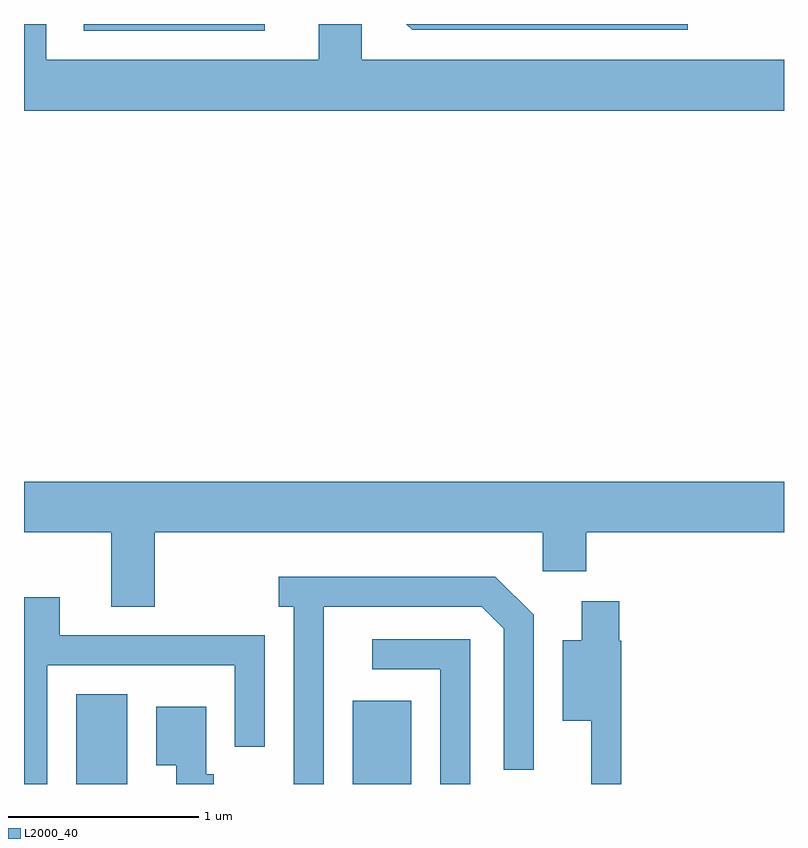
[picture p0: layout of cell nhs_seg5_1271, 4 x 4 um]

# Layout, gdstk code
import gdstk
lib = gdstk.Library(unit=1e-6, precision=1e-09)
def R(c, l, rs):  # rectangles x0, y0, x1, y1
    for r in rs: c.add(gdstk.rectangle(r[:2], r[2:], *l))
def P(c, l, *ps):  # polygons
    for p in ps: c.add(gdstk.Polygon(p, *l))
L2000_40 = (2000, 40)

nhs_seg5_1271 = lib.new_cell('nhs_seg5_1271')
R(nhs_seg5_1271, L2000_40, [(221.886,1522.072,222.154,1522.544), (223.341,1522.072,223.649,1522.509), (221.926,1526.036,222.879,1526.072)])
P(nhs_seg5_1271, L2000_40, [(225.611,1525.884),(223.389,1525.884),(223.389,1526.072),(223.161,1526.072),(223.161,1525.884),(221.729,1525.884),(221.729,1526.072),(221.611,1526.072),(221.611,1525.616),(225.611,1525.616)],
  [(225.104,1526.072),(223.623,1526.072),(223.654,1526.041),(225.104,1526.041)],
  [(222.299,1523.396),(224.341,1523.396),(224.341,1523.191),(224.569,1523.191),(224.569,1523.396),(225.611,1523.396),(225.611,1523.664),(221.611,1523.664),(221.611,1523.396),(222.071,1523.396),(222.071,1523.006),(222.299,1523.006)],
  [(223.189,1523.006),(224.019,1523.006),(224.136,1522.889),(224.136,1522.148),(224.294,1522.148),(224.294,1522.962),(224.092,1523.164),(222.953,1523.164),(222.953,1523.006),(223.031,1523.006),(223.031,1522.072),(223.189,1522.072)],
  [(221.734,1522.696),(222.721,1522.696),(222.721,1522.268),(222.879,1522.268),(222.879,1522.854),(221.799,1522.854),(221.799,1523.054),(221.611,1523.054),(221.611,1522.072),(221.734,1522.072)],
  [(224.754,1522.825),(224.744,1522.825),(224.744,1523.034),(224.546,1523.034),(224.546,1522.829),(224.446,1522.829),(224.446,1522.406),(224.596,1522.406),(224.596,1522.072),(224.754,1522.072)],
  [(223.959,1522.834),(223.443,1522.834),(223.443,1522.676),(223.801,1522.676),(223.801,1522.072),(223.959,1522.072)],
  [(222.609,1522.124),(222.569,1522.124),(222.569,1522.479),(222.306,1522.479),(222.306,1522.171),(222.411,1522.171),(222.411,1522.072),(222.609,1522.072)])

lib.write_gds('nhs_seg5_1271.gds')
